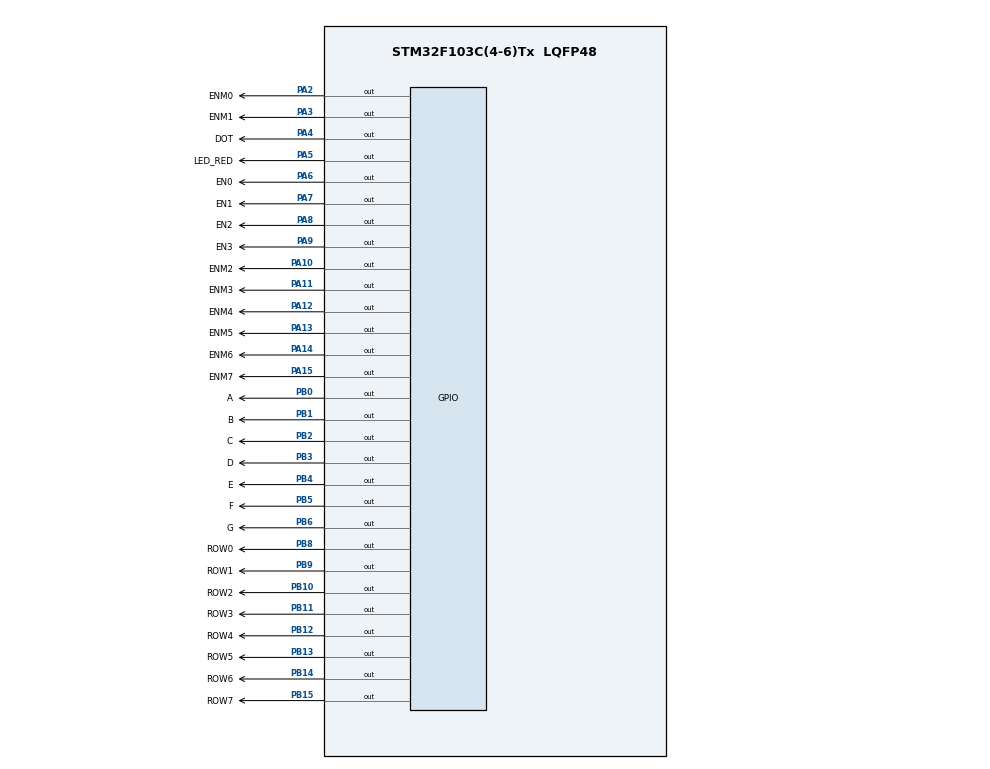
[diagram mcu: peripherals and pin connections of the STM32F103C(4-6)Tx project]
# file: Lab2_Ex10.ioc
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Mcu.Family=STM32F1
Mcu.Name=STM32F103C(4-6)Tx
Mcu.Package=LQFP48
NVIC.PriorityGroup=NVIC_PRIORITYGROUP_4
NVIC.TIM2_IRQn=true\:0\:0\:false\:false\:true\:true\:true
PA10.GPIO_Label=ENM2
PA10.Signal=GPIO_Output
PA11.GPIO_Label=ENM3
PA11.Signal=GPIO_Output
PA12.GPIO_Label=ENM4
PA12.Signal=GPIO_Output
PA13.GPIO_Label=ENM5
PA13.Signal=GPIO_Output
PA14.GPIO_Label=ENM6
PA14.Signal=GPIO_Output
PA15.GPIO_Label=ENM7
PA15.Signal=GPIO_Output
PA2.GPIO_Label=ENM0
PA2.Signal=GPIO_Output
PA3.GPIO_Label=ENM1
PA3.Signal=GPIO_Output
PA4.GPIO_Label=DOT
PA4.Signal=GPIO_Output
PA5.GPIO_Label=LED_RED
PA5.Signal=GPIO_Output
PA6.GPIO_Label=EN0
PA6.Signal=GPIO_Output
PA7.GPIO_Label=EN1
PA7.Signal=GPIO_Output
PA8.GPIO_Label=EN2
PA8.Signal=GPIO_Output
PA9.GPIO_Label=EN3
PA9.Signal=GPIO_Output
PB0.GPIO_Label=A
PB0.Signal=GPIO_Output
PB1.GPIO_Label=B
PB1.Signal=GPIO_Output
PB10.GPIO_Label=ROW2
PB10.Signal=GPIO_Output
PB11.GPIO_Label=ROW3
PB11.Signal=GPIO_Output
PB12.GPIO_Label=ROW4
PB12.Signal=GPIO_Output
PB13.GPIO_Label=ROW5
PB13.Signal=GPIO_Output
PB14.GPIO_Label=ROW6
PB14.Signal=GPIO_Output
PB15.GPIO_Label=ROW7
PB15.Signal=GPIO_Output
PB2.GPIO_Label=C
PB2.Signal=GPIO_Output
PB3.GPIO_Label=D
PB3.Signal=GPIO_Output
PB4.GPIO_Label=E
PB4.Signal=GPIO_Output
PB5.GPIO_Label=F
PB5.Signal=GPIO_Output
PB6.GPIO_Label=G
PB6.Signal=GPIO_Output
PB8.GPIO_Label=ROW0
PB8.Signal=GPIO_Output
PB9.GPIO_Label=ROW1
PB9.Signal=GPIO_Output
ProjectManager.HeapSize=0x200
ProjectManager.StackSize=0x400
ProjectManager.TargetToolchain=STM32CubeIDE
RCC.APB1Freq_Value=8000000
RCC.APB2Freq_Value=8000000
TIM2.Period=9
TIM2.Prescaler=7999
VP_SYS_VS_ND.Mode=No_Debug
VP_TIM2_VS_ClockSourceINT.Mode=Internal
board=custom

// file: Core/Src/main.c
/* USER CODE BEGIN Header */
/**
  ******************************************************************************
  * @file           : main.c
  * @brief          : Main program body
  ******************************************************************************
  * @attention
  *
  * <h2><center>&copy; Copyright (c) 2023 STMicroelectronics.
  * All rights reserved.</center></h2>
  *
  * This software component is licensed by ST under BSD 3-Clause license,
  * the "License"; You may not use this file except in compliance with the
  * License. You may obtain a copy of the License at:
  *                        opensource.org/licenses/BSD-3-Clause
  *
  ******************************************************************************
  */
/* USER CODE END Header */
#include "main.h"

TIM_HandleTypeDef htim2;

void SystemClock_Config(void);
static void MX_GPIO_Init(void);
static void MX_TIM2_Init(void);

/* USER CODE BEGIN 0 */
int timer0_counter = 0;
int timer0_flag = 1;
int timer1_counter = 0;
int timer1_flag = 1;
int timer2_counter = 0;
int timer2_flag = 1;
int TIMER_CYCLE = 10;

void setTimer0(int duration){
	timer0_counter = duration / TIMER_CYCLE;
	timer0_flag = 0;
}

void setTimer1(int duration){
	timer1_counter = duration / TIMER_CYCLE;
	timer1_flag = 0;
}

void setTimer2(int duration){
	timer2_counter = duration / TIMER_CYCLE;
	timer2_flag = 0;
}

void timer_run(){
	if(timer0_counter > 0){
		timer0_counter--;
		if(timer0_counter == 0){
			timer0_flag = 1;
		}
	}
	if(timer1_counter > 0){
			timer1_counter--;
			if(timer1_counter == 0){
				timer1_flag = 1;
			}
		}
	if(timer2_counter > 0){
			timer2_counter--;
			if(timer2_counter == 0){
				timer2_flag = 1;
			}
		}
}
void display7SEG(int num) {
	switch(num) {
		case 0:
			HAL_GPIO_WritePin(A_GPIO_Port,A_Pin,RESET);
			HAL_GPIO_WritePin(B_GPIO_Port,B_Pin,RESET);
			HAL_GPIO_WritePin(C_GPIO_Port,C_Pin,RESET);
			HAL_GPIO_WritePin(D_GPIO_Port,D_Pin,RESET);
			HAL_GPIO_WritePin(E_GPIO_Port,E_Pin,RESET);
			HAL_GPIO_WritePin(F_GPIO_Port,F_Pin,RESET);
			HAL_GPIO_WritePin(G_GPIO_Port,G_Pin,SET);
			break;

		case 1:
			HAL_GPIO_WritePin(A_GPIO_Port,A_Pin,SET);
			HAL_GPIO_WritePin(B_GPIO_Port,B_Pin,RESET);
			HAL_GPIO_WritePin(C_GPIO_Port,C_Pin,RESET);
			HAL_GPIO_WritePin(D_GPIO_Port,D_Pin,SET);
			HAL_GPIO_WritePin(E_GPIO_Port,E_Pin,SET);
			HAL_GPIO_WritePin(F_GPIO_Port,F_Pin,SET);
			HAL_GPIO_WritePin(G_GPIO_Port,G_Pin,SET);
			break;

		case 2:
			HAL_GPIO_WritePin(A_GPIO_Port,A_Pin,RESET);
			HAL_GPIO_WritePin(B_GPIO_Port,B_Pin,RESET);
			HAL_GPIO_WritePin(C_GPIO_Port,C_Pin,SET);
			HAL_GPIO_WritePin(D_GPIO_Port,D_Pin,RESET);
			HAL_GPIO_WritePin(E_GPIO_Port,E_Pin,RESET);
			HAL_GPIO_WritePin(F_GPIO_Port,F_Pin,SET);
			HAL_GPIO_WritePin(G_GPIO_Port,G_Pin,RESET);
			break;

		case 3:
			HAL_GPIO_WritePin(A_GPIO_Port,A_Pin,RESET);
			HAL_GPIO_WritePin(B_GPIO_Port,B_Pin,RESET);
			HAL_GPIO_WritePin(C_GPIO_Port,C_Pin,RESET);
			HAL_GPIO_WritePin(D_GPIO_Port,D_Pin,RESET);
			HAL_GPIO_WritePin(E_GPIO_Port,E_Pin,SET);
			HAL_GPIO_WritePin(F_GPIO_Port,F_Pin,SET);
			HAL_GPIO_WritePin(G_GPIO_Port,G_Pin,RESET);
			break;

		case 4:
			HAL_GPIO_WritePin(A_GPIO_Port,A_Pin,SET);
			HAL_GPIO_WritePin(B_GPIO_Port,B_Pin,RESET);
			HAL_GPIO_WritePin(C_GPIO_Port,C_Pin,RESET);
			HAL_GPIO_WritePin(D_GPIO_Port,D_Pin,SET);
			HAL_GPIO_WritePin(E_GPIO_Port,E_Pin,SET);
			HAL_GPIO_WritePin(F_GPIO_Port,F_Pin,RESET);
			HAL_GPIO_WritePin(G_GPIO_Port,G_Pin,RESET);
			break;

		case 5:
			HAL_GPIO_WritePin(A_GPIO_Port,A_Pin,RESET);
			HAL_GPIO_WritePin(B_GPIO_Port,B_Pin,SET);
			HAL_GPIO_WritePin(C_GPIO_Port,C_Pin,RESET);
			HAL_GPIO_WritePin(D_GPIO_Port,D_Pin,RESET);
			HAL_GPIO_WritePin(E_GPIO_Port,E_Pin,SET);
			HAL_GPIO_WritePin(F_GPIO_Port,F_Pin,RESET);
			HAL_GPIO_WritePin(G_GPIO_Port,G_Pin,RESET);
			break;

		case 6:
			HAL_GPIO_WritePin(A_GPIO_Port,A_Pin,RESET);
			HAL_GPIO_WritePin(B_GPIO_Port,B_Pin,SET);
			HAL_GPIO_WritePin(C_GPIO_Port,C_Pin,RESET);
			HAL_GPIO_WritePin(D_GPIO_Port,D_Pin,RESET);
			HAL_GPIO_WritePin(E_GPIO_Port,E_Pin,RESET);
			HAL_GPIO_WritePin(F_GPIO_Port,F_Pin,RESET);
			HAL_GPIO_WritePin(G_GPIO_Port,G_Pin,RESET);
			break;

		case 7:
			HAL_GPIO_WritePin(A_GPIO_Port,A_Pin,RESET);
			HAL_GPIO_WritePin(B_GPIO_Port,B_Pin,RESET);
			HAL_GPIO_WritePin(C_GPIO_Port,C_Pin,RESET);
			HAL_GPIO_WritePin(D_GPIO_Port,D_Pin,SET);
			HAL_GPIO_WritePin(E_GPIO_Port,E_Pin,SET);
			HAL_GPIO_WritePin(F_GPIO_Port,F_Pin,SET);
			HAL_GPIO_WritePin(G_GPIO_Port,G_Pin,SET);
			break;

		case 8:
			HAL_GPIO_WritePin(A_GPIO_Port,A_Pin,RESET);
			HAL_GPIO_WritePin(B_GPIO_Port,B_Pin,RESET);
			HAL_GPIO_WritePin(C_GPIO_Port,C_Pin,RESET);
			HAL_GPIO_WritePin(D_GPIO_Port,D_Pin,RESET);
			HAL_GPIO_WritePin(E_GPIO_Port,E_Pin,RESET);
			HAL_GPIO_WritePin(F_GPIO_Port,F_Pin,RESET);
			HAL_GPIO_WritePin(G_GPIO_Port,G_Pin,RESET);
			break;

		case 9:
			HAL_GPIO_WritePin(A_GPIO_Port,A_Pin,RESET);
			HAL_GPIO_WritePin(B_GPIO_Port,B_Pin,RESET);
			HAL_GPIO_WritePin(C_GPIO_Port,C_Pin,RESET);
			HAL_GPIO_WritePin(D_GPIO_Port,D_Pin,RESET);
			HAL_GPIO_WritePin(E_GPIO_Port,E_Pin,SET);
			HAL_GPIO_WritePin(F_GPIO_Port,F_Pin,RESET);
			HAL_GPIO_WritePin(G_GPIO_Port,G_Pin,RESET);
			break;

		default:
			HAL_GPIO_WritePin(A_GPIO_Port,A_Pin,RESET);
			HAL_GPIO_WritePin(B_GPIO_Port,B_Pin,RESET);
			HAL_GPIO_WritePin(C_GPIO_Port,C_Pin,RESET);
			HAL_GPIO_WritePin(D_GPIO_Port,D_Pin,RESET);
			HAL_GPIO_WritePin(E_GPIO_Port,E_Pin,RESET);
			HAL_GPIO_WritePin(F_GPIO_Port,F_Pin,RESET);
			HAL_GPIO_WritePin(G_GPIO_Port,G_Pin,RESET);
	}
}
int led_buffer[4] = {0, 1 , 2 , 3};
void updateClockBuffer(int hour, int minute) {
	led_buffer[0] = hour / 10;
	led_buffer[1] = hour % 10;
	led_buffer[2] = minute / 10;
	led_buffer[3] = minute % 10;
}
const int MAX_LED = 4;
void update7SEG(int index){
	switch(index){
			case 0:
				HAL_GPIO_WritePin(EN0_GPIO_Port, EN0_Pin, RESET);
				HAL_GPIO_WritePin(EN1_GPIO_Port, EN1_Pin, SET);
				HAL_GPIO_WritePin(EN2_GPIO_Port, EN2_Pin, SET);
				HAL_GPIO_WritePin(EN3_GPIO_Port, EN3_Pin, SET);
				display7SEG(led_buffer[0]);
				break;
			case 1:
				HAL_GPIO_WritePin(EN0_GPIO_Port, EN0_Pin, SET);
				HAL_GPIO_WritePin(EN1_GPIO_Port, EN1_Pin, RESET);
				HAL_GPIO_WritePin(EN2_GPIO_Port, EN2_Pin, SET);
				HAL_GPIO_WritePin(EN3_GPIO_Port, EN3_Pin, SET);
				display7SEG(led_buffer[1]);
				break;
			case 2:
				HAL_GPIO_WritePin(EN0_GPIO_Port, EN0_Pin, SET);
				HAL_GPIO_WritePin(EN1_GPIO_Port, EN1_Pin, SET);
				HAL_GPIO_WritePin(EN2_GPIO_Port, EN2_Pin, RESET);
				HAL_GPIO_WritePin(EN3_GPIO_Port, EN3_Pin, SET);
				display7SEG(led_buffer[2]);
				break;
			case 3:
				HAL_GPIO_WritePin(EN0_GPIO_Port, EN0_Pin, SET);
				HAL_GPIO_WritePin(EN1_GPIO_Port, EN1_Pin, SET);
				HAL_GPIO_WritePin(EN2_GPIO_Port, EN2_Pin, SET);
				HAL_GPIO_WritePin(EN3_GPIO_Port, EN3_Pin, RESET);
				display7SEG(led_buffer[3]);
				break;
			default:
				HAL_GPIO_WritePin(EN0_GPIO_Port, EN0_Pin, RESET);
				HAL_GPIO_WritePin(EN1_GPIO_Port, EN1_Pin, RESET);
				HAL_GPIO_WritePin(EN2_GPIO_Port, EN2_Pin, RESET);
				HAL_GPIO_WritePin(EN3_GPIO_Port, EN3_Pin, RESET);
				display7SEG(0);
	}
}

const int MAX_LED_MATRIX = 8;
int index_led_matrix = 0;

uint16_t matrix_buffer[8] = {0xFF, 0x07, 0x03, 0x99, 0xC99, 0x03, 0x07, 0xFF};
uint16_t A_buffer[9] = {0xFF, 0x07, 0x03, 0x99, 0xC99, 0x03, 0x07, 0xFF, 0xFF};

int matrix_count = 0;
int cycle_count = 0;

void update_buffer(int count) {
	matrix_buffer[0] = matrix_buffer[1];
	matrix_buffer[1] = matrix_buffer[2];
	matrix_buffer[2] = matrix_buffer[3];
	matrix_buffer[3] = matrix_buffer[4];
	matrix_buffer[4] = matrix_buffer[5];
	matrix_buffer[5] = matrix_buffer[6];
	matrix_buffer[6] = matrix_buffer[7];
	matrix_buffer[7] = A_buffer[count];
}

uint16_t mid = 0xFF;

void update_buffer_to_right(int count) {
	mid = matrix_buffer[7];
	matrix_buffer[7] = matrix_buffer[6];
	matrix_buffer[6] = matrix_buffer[5];
	matrix_buffer[5] = matrix_buffer[4];
	matrix_buffer[4] = matrix_buffer[3];
	matrix_buffer[3] = matrix_buffer[2];
	matrix_buffer[2] = matrix_buffer[1];
	matrix_buffer[1] = matrix_buffer[0];
	matrix_buffer[0] = mid;
}

void updateLEDMatrix(int index){
    switch (index){
        case 0:
        	HAL_GPIO_WritePin(ENM0_GPIO_Port, ENM0_Pin, 0);
			HAL_GPIO_WritePin(ENM1_GPIO_Port, ENM1_Pin, 1);
			HAL_GPIO_WritePin(ENM2_GPIO_Port, ENM2_Pin, 1);
			HAL_GPIO_WritePin(ENM3_GPIO_Port, ENM3_Pin, 1);
			HAL_GPIO_WritePin(ENM4_GPIO_Port, ENM4_Pin, 1);
			HAL_GPIO_WritePin(ENM5_GPIO_Port, ENM5_Pin, 1);
			HAL_GPIO_WritePin(ENM6_GPIO_Port, ENM6_Pin, 1);
			HAL_GPIO_WritePin(ENM7_GPIO_Port, ENM7_Pin, 1);

        	GPIOB->ODR &= ~0xFF00;
        	GPIOB->ODR |= (matrix_buffer[0] << 8);
            break;
        case 1:
        	HAL_GPIO_WritePin(ENM0_GPIO_Port, ENM0_Pin, 1);
			HAL_GPIO_WritePin(ENM1_GPIO_Port, ENM1_Pin, 0);
			HAL_GPIO_WritePin(ENM2_GPIO_Port, ENM2_Pin, 1);
			HAL_GPIO_WritePin(ENM3_GPIO_Port, ENM3_Pin, 1);
			HAL_GPIO_WritePin(ENM4_GPIO_Port, ENM4_Pin, 1);
			HAL_GPIO_WritePin(ENM5_GPIO_Port, ENM5_Pin, 1);
			HAL_GPIO_WritePin(ENM6_GPIO_Port, ENM6_Pin, 1);
			HAL_GPIO_WritePin(ENM7_GPIO_Port, ENM7_Pin, 1);

			GPIOB->ODR &= ~0xFF00;
			GPIOB->ODR |= (matrix_buffer[1] << 8);
            break;
        case 2:
        	HAL_GPIO_WritePin(ENM0_GPIO_Port, ENM0_Pin, 1);
			HAL_GPIO_WritePin(ENM1_GPIO_Port, ENM1_Pin, 1);
			HAL_GPIO_WritePin(ENM2_GPIO_Port, ENM2_Pin, 0);
			HAL_GPIO_WritePin(ENM3_GPIO_Port, ENM3_Pin, 1);
			HAL_GPIO_WritePin(ENM4_GPIO_Port, ENM4_Pin, 1);
			HAL_GPIO_WritePin(ENM5_GPIO_Port, ENM5_Pin, 1);
			HAL_GPIO_WritePin(ENM6_GPIO_Port, ENM6_Pin, 1);
			HAL_GPIO_WritePin(ENM7_GPIO_Port, ENM7_Pin, 1);

			GPIOB->ODR &= ~0xFF00;
			GPIOB->ODR |= (matrix_buffer[2] << 8);
            break;
        case 3:
        	HAL_GPIO_WritePin(ENM0_GPIO_Port, ENM0_Pin, 1);
			HAL_GPIO_WritePin(ENM1_GPIO_Port, ENM1_Pin, 1);
			HAL_GPIO_WritePin(ENM2_GPIO_Port, ENM2_Pin, 1);
			HAL_GPIO_WritePin(ENM3_GPIO_Port, ENM3_Pin, 0);
			HAL_GPIO_WritePin(ENM4_GPIO_Port, ENM4_Pin, 1);
			HAL_GPIO_WritePin(ENM5_GPIO_Port, ENM5_Pin, 1);
			HAL_GPIO_WritePin(ENM6_GPIO_Port, ENM6_Pin, 1);
			HAL_GPIO_WritePin(ENM7_GPIO_Port, ENM7_Pin, 1);

			GPIOB->ODR &= ~0xFF00;
			GPIOB->ODR |= (matrix_buffer[3] << 8);
            break;
        case 4:
        	HAL_GPIO_WritePin(ENM0_GPIO_Port, ENM0_Pin, 1);
			HAL_GPIO_WritePin(ENM1_GPIO_Port, ENM1_Pin, 1);
			HAL_GPIO_WritePin(ENM2_GPIO_Port, ENM2_Pin, 1);
			HAL_GPIO_WritePin(ENM3_GPIO_Port, ENM3_Pin, 1);
			HAL_GPIO_WritePin(ENM4_GPIO_Port, ENM4_Pin, 0);
			HAL_GPIO_WritePin(ENM5_GPIO_Port, ENM5_Pin, 1);
			HAL_GPIO_WritePin(ENM6_GPIO_Port, ENM6_Pin, 1);
			HAL_GPIO_WritePin(ENM7_GPIO_Port, ENM7_Pin, 1);

			GPIOB->ODR &= ~0xFF00;
			GPIOB->ODR |= (matrix_buffer[4] << 8);
            break;
        case 5:
        	HAL_GPIO_WritePin(ENM0_GPIO_Port, ENM0_Pin, 1);
			HAL_GPIO_WritePin(ENM1_GPIO_Port, ENM1_Pin, 1);
			HAL_GPIO_WritePin(ENM2_GPIO_Port, ENM2_Pin, 1);
			HAL_GPIO_WritePin(ENM3_GPIO_Port, ENM3_Pin, 1);
			HAL_GPIO_WritePin(ENM4_GPIO_Port, ENM4_Pin, 1);
			HAL_GPIO_WritePin(ENM5_GPIO_Port, ENM5_Pin, 0);
			HAL_GPIO_WritePin(ENM6_GPIO_Port, ENM6_Pin, 1);
			HAL_GPIO_WritePin(ENM7_GPIO_Port, ENM7_Pin, 1);

			GPIOB->ODR &= ~0xFF00;
			GPIOB->ODR |= (matrix_buffer[5] << 8);
            break;
        case 6:
        	HAL_GPIO_WritePin(ENM0_GPIO_Port, ENM0_Pin, 1);
			HAL_GPIO_WritePin(ENM1_GPIO_Port, ENM1_Pin, 1);
			HAL_GPIO_WritePin(ENM2_GPIO_Port, ENM2_Pin, 1);
			HAL_GPIO_WritePin(ENM3_GPIO_Port, ENM3_Pin, 1);
			HAL_GPIO_WritePin(ENM4_GPIO_Port, ENM4_Pin, 1);
			HAL_GPIO_WritePin(ENM5_GPIO_Port, ENM5_Pin, 1);
			HAL_GPIO_WritePin(ENM6_GPIO_Port, ENM6_Pin, 0);
			HAL_GPIO_WritePin(ENM7_GPIO_Port, ENM7_Pin, 1);

			GPIOB->ODR &= ~0xFF00;
			GPIOB->ODR |= (matrix_buffer[6] << 8);
            break;
        case 7:
        	HAL_GPIO_WritePin(ENM0_GPIO_Port, ENM0_Pin, 1);
			HAL_GPIO_WritePin(ENM1_GPIO_Port, ENM1_Pin, 1);
			HAL_GPIO_WritePin(ENM2_GPIO_Port, ENM2_Pin, 1);
			HAL_GPIO_WritePin(ENM3_GPIO_Port, ENM3_Pin, 1);
			HAL_GPIO_WritePin(ENM4_GPIO_Port, ENM4_Pin, 1);
			HAL_GPIO_WritePin(ENM5_GPIO_Port, ENM5_Pin, 1);
			HAL_GPIO_WritePin(ENM6_GPIO_Port, ENM6_Pin, 1);
			HAL_GPIO_WritePin(ENM7_GPIO_Port, ENM7_Pin, 0);

			GPIOB->ODR &= ~0xFF00;
			GPIOB->ODR |= (matrix_buffer[7] << 8);
            break;
        default:
            break;
    }
}
/* USER CODE END 0 */

int main(void)
{

  /* MCU Configuration--------------------------------------------------------*/

  /* Reset of all peripherals, Initializes the Flash interface and the Systick. */
  HAL_Init();

  /* Configure the system clock */
  SystemClock_Config();

  /* Initialize all configured peripherals */
  MX_GPIO_Init();
  MX_TIM2_Init();
  /* USER CODE BEGIN 2 */
  HAL_TIM_Base_Start_IT(&htim2);
  int led_matrix = 0;
  int hour = 15 , minute = 8 , second = 50;
  int index_led = 0;
  int cycle_matrix = 0;
  /* USER CODE END 2 */

  /* Infinite loop */
  while (1)
  {
	  updateClockBuffer(hour, minute);
	  	  if(timer1_flag == 1){
	  		  if(index_led >= 4){
	  			  index_led = 0;
	  	  	  }
	    		  update7SEG(index_led);
	    		  index_led++;
	    		  HAL_GPIO_TogglePin(LED_RED_GPIO_Port, LED_RED_Pin);
	    		  HAL_GPIO_TogglePin(DOT_GPIO_Port, DOT_Pin);
	    		  setTimer1(250);
	  	  }
	  	  if(timer0_flag == 1){
	  		  second++;
	  		  if(second >= 60){
	  			  second = 0;
	  			  minute++;
	  		  }
	  		  if(minute >= 60){
	  			  minute = 0;
	  			  hour++;
	  		  }
	  		  if(hour >= 24){
	  			  hour = 0;
	  		  }
	  		  setTimer0(1000);
	  	  }
	  	if(timer2_flag == 1) {
	  		led_matrix++;
	  			if(led_matrix > 7) {
	  				led_matrix = 0;
	  				cycle_matrix++;
	  				if(cycle_matrix > 8) {
	  					cycle_matrix = 0;
	  				}
	  				update_buffer(cycle_matrix);
	  			}
	  			updateLEDMatrix(led_matrix);
	  			setTimer2(50);
	  		}
  }
}

void SystemClock_Config(void)
{
  RCC_OscInitTypeDef RCC_OscInitStruct = {0};
  RCC_ClkInitTypeDef RCC_ClkInitStruct = {0};

  /** Initializes the RCC Oscillators according to the specified parameters
  * in the RCC_OscInitTypeDef structure.
  */
  RCC_OscInitStruct.OscillatorType = RCC_OSCILLATORTYPE_HSI;
  RCC_OscInitStruct.HSIState = RCC_HSI_ON;
  RCC_OscInitStruct.HSICalibrationValue = RCC_HSICALIBRATION_DEFAULT;
  RCC_OscInitStruct.PLL.PLLState = RCC_PLL_NONE;
  if (HAL_RCC_OscConfig(&RCC_OscInitStruct) != HAL_OK)
  {
    Error_Handler();
  }
  /** Initializes the CPU, AHB and APB buses clocks
  */
  RCC_ClkInitStruct.ClockType = RCC_CLOCKTYPE_HCLK|RCC_CLOCKTYPE_SYSCLK
                              |RCC_CLOCKTYPE_PCLK1|RCC_CLOCKTYPE_PCLK2;
  RCC_ClkInitStruct.SYSCLKSource = RCC_SYSCLKSOURCE_HSI;
  RCC_ClkInitStruct.AHBCLKDivider = RCC_SYSCLK_DIV1;
  RCC_ClkInitStruct.APB1CLKDivider = RCC_HCLK_DIV1;
  RCC_ClkInitStruct.APB2CLKDivider = RCC_HCLK_DIV1;

  if (HAL_RCC_ClockConfig(&RCC_ClkInitStruct, FLASH_LATENCY_0) != HAL_OK)
  {
    Error_Handler();
  }
}

static void MX_TIM2_Init(void)
{

  TIM_ClockConfigTypeDef sClockSourceConfig = {0};
  TIM_MasterConfigTypeDef sMasterConfig = {0};

  htim2.Instance = TIM2;
  htim2.Init.Prescaler = 7999;
  htim2.Init.CounterMode = TIM_COUNTERMODE_UP;
  htim2.Init.Period = 9;
  htim2.Init.ClockDivision = TIM_CLOCKDIVISION_DIV1;
  htim2.Init.AutoReloadPreload = TIM_AUTORELOAD_PRELOAD_DISABLE;
  if (HAL_TIM_Base_Init(&htim2) != HAL_OK)
  {
    Error_Handler();
  }
  sClockSourceConfig.ClockSource = TIM_CLOCKSOURCE_INTERNAL;
  if (HAL_TIM_ConfigClockSource(&htim2, &sClockSourceConfig) != HAL_OK)
  {
    Error_Handler();
  }
  sMasterConfig.MasterOutputTrigger = TIM_TRGO_RESET;
  sMasterConfig.MasterSlaveMode = TIM_MASTERSLAVEMODE_DISABLE;
  if (HAL_TIMEx_MasterConfigSynchronization(&htim2, &sMasterConfig) != HAL_OK)
  {
    Error_Handler();
  }

}

static void MX_GPIO_Init(void)
{
  GPIO_InitTypeDef GPIO_InitStruct = {0};

  /* GPIO Ports Clock Enable */
  __HAL_RCC_GPIOA_CLK_ENABLE();
  __HAL_RCC_GPIOB_CLK_ENABLE();

  /*Configure GPIO pin Output Level */
  HAL_GPIO_WritePin(GPIOA, ENM0_Pin|ENM1_Pin|DOT_Pin|LED_RED_Pin
                          |EN0_Pin|EN1_Pin|EN2_Pin|EN3_Pin
                          |ENM2_Pin|ENM3_Pin|ENM4_Pin|ENM5_Pin
                          |ENM6_Pin|ENM7_Pin, GPIO_PIN_RESET);

  /*Configure GPIO pin Output Level */
  HAL_GPIO_WritePin(GPIOB, A_Pin|B_Pin|C_Pin|ROW2_Pin
                          |ROW3_Pin|ROW4_Pin|ROW5_Pin|ROW6_Pin
                          |ROW7_Pin|D_Pin|E_Pin|F_Pin
                          |G_Pin|ROW0_Pin|ROW1_Pin, GPIO_PIN_RESET);

  /*Configure GPIO pins : ENM0_Pin ENM1_Pin DOT_Pin LED_RED_Pin
                           EN0_Pin EN1_Pin EN2_Pin EN3_Pin
                           ENM2_Pin ENM3_Pin ENM4_Pin ENM5_Pin
                           ENM6_Pin ENM7_Pin */
  GPIO_InitStruct.Pin = ENM0_Pin|ENM1_Pin|DOT_Pin|LED_RED_Pin
                          |EN0_Pin|EN1_Pin|EN2_Pin|EN3_Pin
                          |ENM2_Pin|ENM3_Pin|ENM4_Pin|ENM5_Pin
                          |ENM6_Pin|ENM7_Pin;
  GPIO_InitStruct.Mode = GPIO_MODE_OUTPUT_PP;
  GPIO_InitStruct.Pull = GPIO_NOPULL;
  GPIO_InitStruct.Speed = GPIO_SPEED_FREQ_LOW;
  HAL_GPIO_Init(GPIOA, &GPIO_InitStruct);

  /*Configure GPIO pins : A_Pin B_Pin C_Pin ROW2_Pin
                           ROW3_Pin ROW4_Pin ROW5_Pin ROW6_Pin
                           ROW7_Pin D_Pin E_Pin F_Pin
                           G_Pin ROW0_Pin ROW1_Pin */
  GPIO_InitStruct.Pin = A_Pin|B_Pin|C_Pin|ROW2_Pin
                          |ROW3_Pin|ROW4_Pin|ROW5_Pin|ROW6_Pin
                          |ROW7_Pin|D_Pin|E_Pin|F_Pin
                          |G_Pin|ROW0_Pin|ROW1_Pin;
  GPIO_InitStruct.Mode = GPIO_MODE_OUTPUT_PP;
  GPIO_InitStruct.Pull = GPIO_NOPULL;
  GPIO_InitStruct.Speed = GPIO_SPEED_FREQ_LOW;
  HAL_GPIO_Init(GPIOB, &GPIO_InitStruct);

}

/* USER CODE BEGIN 4 */
void HAL_TIM_PeriodElapsedCallback(TIM_HandleTypeDef *htim){
	timer_run();
}
/* USER CODE END 4 */

void Error_Handler(void)
{
  __disable_irq();
  while (1)
  {
  }
}

/************************ (C) COPYRIGHT STMicroelectronics *****END OF FILE****/
